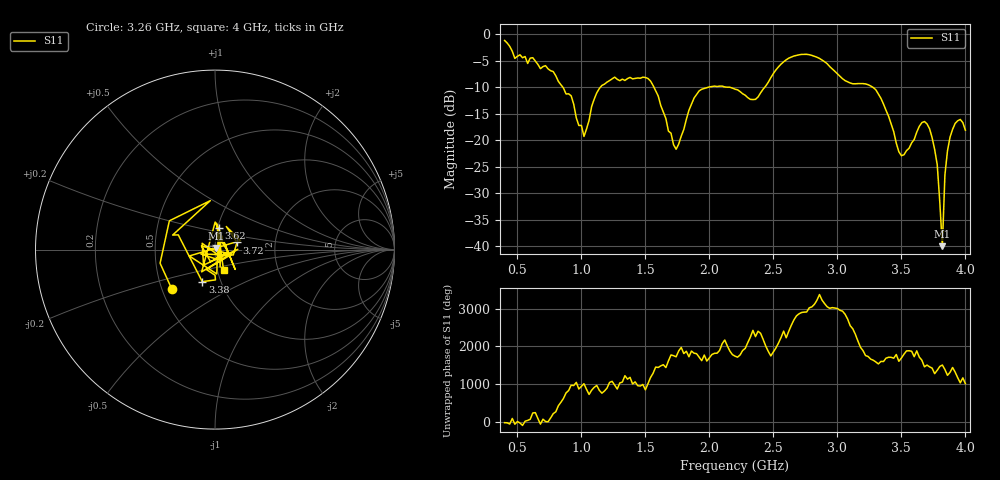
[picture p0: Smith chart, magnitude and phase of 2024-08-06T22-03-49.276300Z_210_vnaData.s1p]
!Created with skrf (http://scikit-rf.org).
# Hz S RI R 50.0
!freq ReS11 ImS11
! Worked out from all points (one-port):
!   181 points, 400 MHz to 4 GHz, reference 50 ohm
!   lowest |S11| = -40.0 dB at 3.82 GHz (marker M1), VSWR 1.02, Z = 50.4 + j0.929 ohm
!   |S11| at or under -10 dB: 855.9 MHz to 1.147 GHz (291.2 MHz wide, 29.1 % of centre); 1.567 GHz to 1.987 GHz (419.9 MHz wide, 23.6 % of centre); 3.278 GHz to end of sweep (the widest 3 of 4)
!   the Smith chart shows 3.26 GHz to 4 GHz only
!   S11 on the Smith chart (normalised r, x): 3.26 GHz: 0.56, -0.28; 3.38 GHz: 0.82, -0.30; 3.62 GHz: 1.01, +0.24; 3.72 GHz: 1.27, +0.10; 4 GHz: 1.07, -0.25
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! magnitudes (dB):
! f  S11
! 400 MHz  -1.1
! 480 MHz  -4.5
! 860 MHz  -10.1
! 920 MHz  -11.6
! 1.02 GHz  -19.3
! 1.14 GHz  -10.2
! 1.3 GHz  -8.7
! 1.54 GHz  -8.8
! 1.72 GHz  -20.8
! 1.76 GHz  -20.7
! 1.92 GHz  -10.6
! 2.2 GHz  -10.3
! 2.36 GHz  -12.3
! 2.66 GHz  -4.1
! 2.86 GHz  -4.5
! 3.1 GHz  -9.2
! 3.26 GHz  -9.7
! 3.38 GHz  -14.3
! 3.48 GHz  -22.1
! 3.56 GHz  -21.5
! 3.62 GHz  -18.4
! 3.72 GHz  -17.8
! 3.78 GHz  -24.6
! 3.82 GHz  -40.0
! 3.84 GHz  -26.5
! 3.88 GHz  -19.4
! 3.96 GHz  -16.0
! 4 GHz  -18.1
